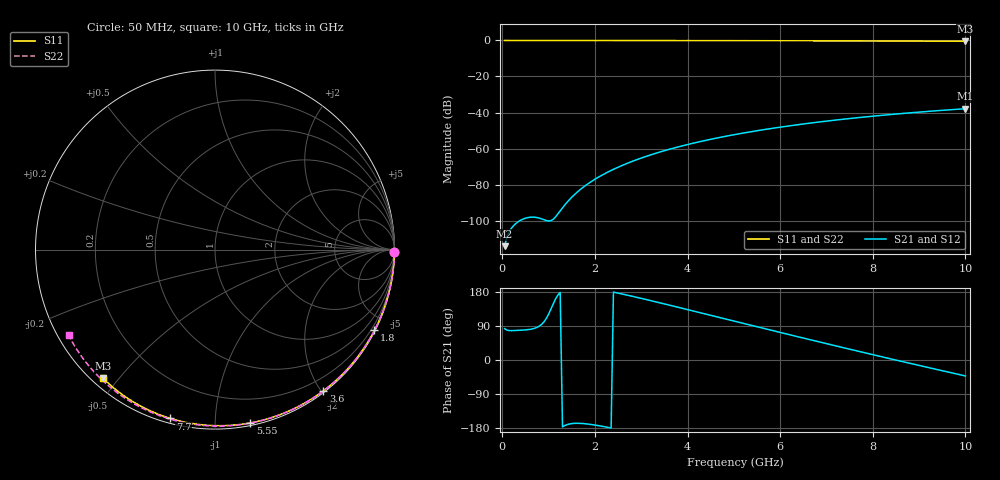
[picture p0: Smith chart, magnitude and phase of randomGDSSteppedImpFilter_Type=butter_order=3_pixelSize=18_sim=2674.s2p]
! freq	dB(S11)	phase(S11)	dB(S12)	phase(S12)
!  dB(S21)	phase(S21)	dB(S22)	phase(S22)
!S-par simulation data
#  GHz  S  DB  R 50
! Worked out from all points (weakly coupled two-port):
!   200 points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, 50 MHz to 10 GHz, reference 50 ohm
!   highest |S21| = -37.87 dB at 10 GHz (marker M1); lowest = -114.2 dB at 50 MHz (marker M2)
!   lowest |S11| = -0.4 dB at 10 GHz (marker M3), VSWR 39.17, Z = 1.54 - j22.7 ohm
!   |S11| at or under -10 dB: nowhere
!   |S22| runs from -0.5 to 0.0 dB; largest |S21 - S12| = 0
!   S11 on the Smith chart (normalised r, x): 50 MHz: open; 1.8 GHz: 0.04, -4.19; 3.6 GHz: 0.02, -2.03; 5.55 GHz: 0.02, -1.22; 7.7 GHz: 0.02, -0.77; 10 GHz: 0.03, -0.45
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0.05  -0.00 -0.8  -114.16 82.8  -114.16 82.8  -0.00 -0.9
0.45  -0.01 -6.8  -99.10 79.0  -99.10 79.0  -0.01 -7.8
0.9  -0.02 -13.6  -99.49 100.7  -99.49 100.7  -0.02 -15.5
1.3  -0.02 -19.5  -92.89 -176.5  -92.89 -176.5  -0.03 -22.2
1.75  -0.03 -26.1  -81.39 -167.7  -81.39 -167.7  -0.04 -29.8
1.8  -0.03 -26.9  -80.43 -168.3  -80.43 -168.3  -0.04 -30.6
1.85  -0.04 -27.6  -79.53 -169.0  -79.53 -169.0  -0.04 -31.5
2.05  -0.04 -30.5  -76.24 -172.6  -76.24 -172.6  -0.04 -34.8
2.2  -0.04 -32.7  -74.10 -175.9  -74.10 -175.9  -0.05 -37.2
2.55  -0.05 -37.7  -69.78 175.2  -69.78 175.2  -0.05 -43.0
2.95  -0.06 -43.4  -65.72 164.1  -65.72 164.1  -0.06 -49.4
3.4  -0.07 -49.8  -61.92 151.0  -61.92 151.0  -0.07 -56.6
3.6  -0.07 -52.5  -60.44 145.0  -60.44 145.0  -0.08 -59.7
4.3  -0.09 -62.1  -55.96 124.0  -55.96 124.0  -0.10 -70.5
5.05  -0.11 -72.0  -52.08 101.3  -52.08 101.3  -0.12 -81.6
5.55  -0.13 -78.5  -49.88 86.2  -49.88 86.2  -0.14 -88.9
6.1  -0.15 -85.4  -47.75 69.8  -47.75 69.8  -0.17 -96.7
6.7  -0.18 -92.8  -45.69 52.0  -45.69 52.0  -0.20 -105.0
7.7  -0.24 -104.8  -42.78 22.7  -42.78 22.7  -0.27 -118.6
8.35  -0.29 -112.4  -41.18 4.0  -41.18 4.0  -0.32 -127.3
9.2  -0.36 -122.1  -39.35 -19.9  -39.35 -19.9  -0.40 -138.7
10  -0.44 -131.1  -37.87 -42.1  -37.87 -42.1  -0.49 -149.7
